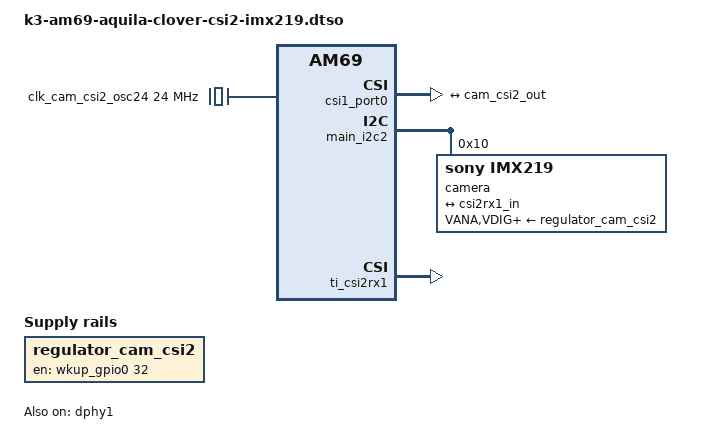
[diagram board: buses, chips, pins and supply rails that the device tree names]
// SPDX-License-Identifier: GPL-2.0-or-later OR MIT
/*
 * Aquila AM69 Clover CSI2 IMX219 Raspiberry Camera Videtronic
 *
 */

/dts-v1/;
/plugin/;

#include <dt-bindings/gpio/gpio.h>
#include <dt-bindings/media/video-interfaces.h>

/ {
	compatible = "toradex,aquila-am69";
};

&{/} {
	clk_cam_csi2_osc24: clk-cam-csi2-osc24 {
		compatible = "fixed-clock";
		#clock-cells = <0>;
		clock-frequency = <24000000>;
	};

	regulator_cam_csi2: regulator-cam-csi2 {
		compatible = "regulator-fixed";
		pinctrl-names = "default";
		pinctrl-0 = <&pinctrl_gpio_13_csi_2>;
		/* Aquila GPIO_13_CSI_2 - BergStark Connector 8 */
		gpio = <&wkup_gpio0 32 GPIO_ACTIVE_HIGH>;
		enable-active-high;
		regulator-name = "V_CSI2";
		startup-delay-us = <5000>;
	};
};

&csi1_port0 {
	status = "okay";

	csi2rx1_in: endpoint {
		remote-endpoint = <&cam_csi2_out>;
		bus-type = <MEDIA_BUS_TYPE_CSI2_DPHY>;
		clock-lanes = <0>;
		data-lanes = <1 2>;
	};
};

&dphy1 {
	status = "okay";
};

/* Aquila I2C_5_CSI2 */
&main_i2c2 {
	#address-cells = <1>;
	#size-cells = <0>;
	status = "okay";

	camera@10 {
		compatible = "sony,imx219";
		reg = <0x10>;
		clocks = <&clk_cam_csi2_osc24>;
		clock-names = "xclk";
		VANA-supply = <&regulator_cam_csi2>;
		VDIG-supply = <&regulator_cam_csi2>;
		VDDL-supply = <&regulator_cam_csi2>;

		port {
			cam_csi2_out: endpoint {
				remote-endpoint = <&csi2rx1_in>;
				clock-lanes = <0>;
				data-lanes = <1 2>;
				link-frequencies = /bits/ 64 <456000000>;
			};
		};
	};
};

&ti_csi2rx1 {
	status = "okay";
};
